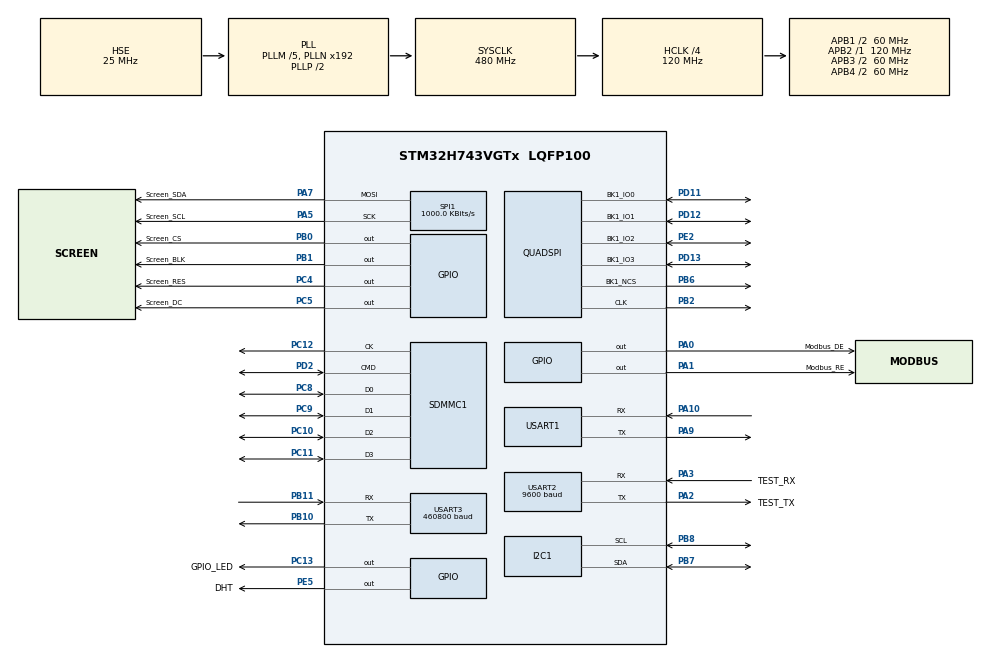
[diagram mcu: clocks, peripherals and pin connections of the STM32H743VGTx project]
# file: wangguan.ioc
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CORTEX_M7.default_mode_Activation=1
FATFS._CODE_PAGE=437
FATFS._USE_LFN=2
FREERTOS.Tasks01=defaultTask,24,2048,StartDefaultTask,Default,NULL,Dynamic,NULL,NULL;FeedWDG,40,256,StartTask02,Default,NULL,Dynamic,NULL,NULL
I2C1.Timing=0x107075B0
IWDG1.Prescaler=IWDG_PRESCALER_32
IWDG1.Reload=2048
Mcu.Family=STM32H7
Mcu.Name=STM32H743VGTx
Mcu.Package=LQFP100
NVIC.PriorityGroup=NVIC_PRIORITYGROUP_4
NVIC.SDMMC1_IRQn=true\:5\:0\:false\:false\:true\:true\:true\:true\:true
NVIC.TIM6_DAC_IRQn=true\:15\:0\:false\:false\:true\:false\:false\:true\:true
NVIC.TIM7_IRQn=true\:5\:0\:false\:false\:true\:true\:true\:true\:true
NVIC.TimeBase=TIM6_DAC_IRQn
NVIC.TimeBaseIP=TIM6
NVIC.USART2_IRQn=true\:5\:0\:false\:false\:true\:true\:true\:true\:true
NVIC.USART3_IRQn=true\:5\:0\:false\:false\:true\:true\:true\:true\:true
PA0.GPIO_Label=Modbus_DE
PA0.Signal=GPIO_Output
PA1.GPIO_Label=Modbus_RE
PA1.Signal=GPIO_Output
PA10.Mode=Asynchronous
PA10.Signal=USART1_RX
PA13\ (JTMS/SWDIO).Mode=Serial_Wire
PA13\ (JTMS/SWDIO).Signal=DEBUG_JTMS-SWDIO
PA14\ (JTCK/SWCLK).Mode=Serial_Wire
PA14\ (JTCK/SWCLK).Signal=DEBUG_JTCK-SWCLK
PA2.GPIO_Label=TEST_TX
PA2.Mode=Asynchronous
PA2.Signal=USART2_TX
PA3.GPIO_Label=TEST_RX
PA3.Mode=Asynchronous
PA3.Signal=USART2_RX
PA5.GPIO_Label=Screen_SCL
PA5.GPIO_Speed=GPIO_SPEED_FREQ_HIGH
PA5.Mode=TX_Only_Simplex_Unidirect_Master
PA5.Signal=SPI1_SCK
PA7.GPIO_Label=Screen_SDA
PA7.GPIO_Speed=GPIO_SPEED_FREQ_HIGH
PA7.Mode=TX_Only_Simplex_Unidirect_Master
PA7.Signal=SPI1_MOSI
PA9.Mode=Asynchronous
PA9.Signal=USART1_TX
PB0.GPIO_Label=Screen_CS
PB0.GPIO_Speed=GPIO_SPEED_FREQ_HIGH
PB0.PinState=GPIO_PIN_SET
PB0.Signal=GPIO_Output
PB1.GPIO_Label=Screen_BLK
PB1.Signal=GPIO_Output
PB10.Mode=Asynchronous
PB10.Signal=USART3_TX
PB11.Mode=Asynchronous
PB11.Signal=USART3_RX
PB2.GPIO_Speed=GPIO_SPEED_FREQ_VERY_HIGH
PB2.Mode=Single Bank 1
PB2.Signal=QUADSPI_CLK
PB6.GPIO_Speed=GPIO_SPEED_FREQ_VERY_HIGH
PB6.Mode=Single Bank 1
PB6.Signal=QUADSPI_BK1_NCS
PB7.Mode=I2C
PB7.Signal=I2C1_SDA
PB8.Mode=I2C
PB8.Signal=I2C1_SCL
PC10.Mode=SD_4_bits_Wide_bus
PC10.Signal=SDMMC1_D2
PC11.Mode=SD_4_bits_Wide_bus
PC11.Signal=SDMMC1_D3
PC12.Mode=SD_4_bits_Wide_bus
PC12.Signal=SDMMC1_CK
PC13.GPIO_Label=GPIO_LED
PC13.Signal=GPIO_Output
PC14-OSC32_IN\ (OSC32_IN).Mode=LSE-External-Oscillator
PC14-OSC32_IN\ (OSC32_IN).Signal=RCC_OSC32_IN
PC15-OSC32_OUT\ (OSC32_OUT).Mode=LSE-External-Oscillator
PC15-OSC32_OUT\ (OSC32_OUT).Signal=RCC_OSC32_OUT
PC4.GPIO_Label=Screen_RES
PC4.Signal=GPIO_Output
PC5.GPIO_Label=Screen_DC
PC5.GPIO_Speed=GPIO_SPEED_FREQ_HIGH
PC5.Signal=GPIO_Output
PC8.Mode=SD_4_bits_Wide_bus
PC8.Signal=SDMMC1_D0
PC9.Mode=SD_4_bits_Wide_bus
PC9.Signal=SDMMC1_D1
PD11.GPIO_Speed=GPIO_SPEED_FREQ_VERY_HIGH
PD11.Mode=Single Bank 1
PD11.Signal=QUADSPI_BK1_IO0
PD12.GPIO_Speed=GPIO_SPEED_FREQ_VERY_HIGH
PD12.Mode=Single Bank 1
PD12.Signal=QUADSPI_BK1_IO1
PD13.GPIO_Speed=GPIO_SPEED_FREQ_VERY_HIGH
PD13.Mode=Single Bank 1
PD13.Signal=QUADSPI_BK1_IO3
PD2.Mode=SD_4_bits_Wide_bus
PD2.Signal=SDMMC1_CMD
PE2.GPIO_Speed=GPIO_SPEED_FREQ_VERY_HIGH
PE2.Mode=Single Bank 1
PE2.Signal=QUADSPI_BK1_IO2
PE5.GPIO_Label=DHT
PE5.GPIO_ModeDefaultOutputPP=GPIO_MODE_OUTPUT_OD
PE5.GPIO_PuPd=GPIO_NOPULL
PE5.PinState=GPIO_PIN_SET
PE5.Signal=GPIO_Output
PH0-OSC_IN\ (PH0).Mode=HSE-External-Oscillator
PH0-OSC_IN\ (PH0).Signal=RCC_OSC_IN
PH1-OSC_OUT\ (PH1).Mode=HSE-External-Oscillator
PH1-OSC_OUT\ (PH1).Signal=RCC_OSC_OUT
ProjectManager.HeapSize=0x200
ProjectManager.StackSize=0x400
ProjectManager.TargetToolchain=MDK-ARM V5.32
QUADSPI.ChipSelectHighTime=QSPI_CS_HIGH_TIME_2_CYCLE
QUADSPI.ClockPrescaler=11
QUADSPI.FifoThreshold=4
QUADSPI.FlashSize=22
QUADSPI.SampleShifting=QSPI_SAMPLE_SHIFTING_NONE
RCC.ADCFreq_Value=50390625
RCC.APB1Freq_Value=60000000
RCC.APB2Freq_Value=120000000
RCC.APB3Freq_Value=60000000
RCC.APB4Freq_Value=60000000
RCC.CortexFreq_Value=480000000
RCC.D1PPRE=RCC_APB3_DIV2
RCC.D2PPRE1=RCC_APB1_DIV2
RCC.D3PPRE=RCC_APB4_DIV2
RCC.DIVM1=5
RCC.DIVN1=192
RCC.DIVQ1=10
RCC.EnbaleCSS=true
RCC.HCLKFreq_Value=120000000
RCC.HPRE=RCC_HCLK_DIV4
RCC.HSE_VALUE=25000000
RCC.PLL2FRACN=0
RCC.PLL3FRACN=0
RCC.PLLFRACN=0
RCC.PLLSourceVirtual=RCC_PLLSOURCE_HSE
RCC.SPI123CLockSelection=RCC_SPI123CLKSOURCE_CLKP
RCC.SYSCLKFreq_VALUE=480000000
RCC.SYSCLKSource=RCC_SYSCLKSOURCE_PLLCLK
RCC.USBFreq_Value=96000000
SDMMC1.ClockDiv=2
SDMMC1.HardwareFlowControl=SDMMC_HARDWARE_FLOW_CONTROL_ENABLE
SPI1.BaudRatePrescaler=SPI_BAUDRATEPRESCALER_64
SPI1.CLKPhase=SPI_PHASE_1EDGE
SPI1.CLKPolarity=SPI_POLARITY_LOW
SPI1.CalculateBaudRate=1000.0 KBits/s
SPI1.DataSize=SPI_DATASIZE_8BIT
SPI1.Direction=SPI_DIRECTION_2LINES_TXONLY
SPI1.MasterKeepIOState=SPI_MASTER_KEEP_IO_STATE_ENABLE
SPI1.Mode=SPI_MODE_MASTER
SPI1.NSSPMode=SPI_NSS_PULSE_DISABLE
SPI1.VirtualType=VM_MASTER
USART1.VirtualMode-Asynchronous=VM_ASYNC
USART2.BaudRate=9600
USART2.VirtualMode-Asynchronous=VM_ASYNC
USART3.BaudRate=460800
USART3.VirtualMode-Asynchronous=VM_ASYNC
VP_CRC_VS_CRC.Mode=CRC_Activate
VP_FATFS_VS_SDIO.Mode=SDIO
VP_FREERTOS_VS_CMSIS_V2.Mode=CMSIS_V2
VP_IWDG1_VS_IWDG.Mode=IWDG_Activate
VP_MEMORYMAP_VS_MEMORYMAP.Mode=CurAppReg
VP_SYS_VS_tim6.Mode=TIM6
VP_TIM7_VS_ClockSourceINT.Mode=Enable_Timer
board=custom

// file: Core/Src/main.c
/* USER CODE BEGIN Header */
/**
  ******************************************************************************
  * @file           : main.c
  * @brief          : Main program body
  ******************************************************************************
  * @attention
  *
  * Copyright (c) 2026 STMicroelectronics.
  * All rights reserved.
  *
  * This software is licensed under terms that can be found in the LICENSE file
  * in the root directory of this software component.
  * If no LICENSE file comes with this software, it is provided AS-IS.
  *
  ******************************************************************************
  */
/* USER CODE END Header */
#include "main.h"
#include "FreeRTOS.h"
#include "cmsis_os2.h"
#include "fatfs.h"

/* USER CODE BEGIN Includes */
#include "lvgl_port.h"
#include "usart1_test.h"
#include "usart3_test.h"
#include "w25q64_qspi.h"
#include "w25q64_test.h"
#include "boot_selftest.h"
#include "modbus_sensor.h"
#include "boot_trial.h"
#include "offline_cache.h"
#include "bh1750.h"
#include "task.h"
/* USER CODE END Includes */

/* USER CODE BEGIN PD */

volatile uint32_t g_lvgl_heartbeat = 0U;
volatile uint32_t g_usart1_heartbeat = 0U;
volatile uint32_t g_usart3_heartbeat = 0U;

volatile bool g_lvgl_started = false;
volatile bool g_usart1_started = false;
volatile bool g_usart3_started = false;

/* USER CODE END PD */

CRC_HandleTypeDef hcrc;

I2C_HandleTypeDef hi2c1;

IWDG_HandleTypeDef hiwdg1;

QSPI_HandleTypeDef hqspi;

SD_HandleTypeDef hsd1;

SPI_HandleTypeDef hspi1;

TIM_HandleTypeDef htim7;

UART_HandleTypeDef huart1;
UART_HandleTypeDef huart2;
UART_HandleTypeDef huart3;

/* Definitions for defaultTask */
osThreadId_t defaultTaskHandle;
const osThreadAttr_t defaultTask_attributes = {
  .name = "defaultTask",
  .stack_size = 2048 * 4,
  .priority = (osPriority_t) osPriorityNormal,
};
/* Definitions for FeedWDG */
osThreadId_t FeedWDGHandle;
const osThreadAttr_t FeedWDG_attributes = {
  .name = "FeedWDG",
  .stack_size = 256 * 4,
  .priority = (osPriority_t) osPriorityHigh,
};
#define STARTUP_GRACE_MS 3000U
#define CACHE_SCAN_LIMIT_MS 30000U
#define CACHE_SCAN_STALL_MS 2000U

void SystemClock_Config(void);
void PeriphCommonClock_Config(void);
static void MPU_Config(void);
static void MX_GPIO_Init(void);
static void MX_USART1_UART_Init(void);
static void MX_SPI1_Init(void);
static void MX_QUADSPI_Init(void);
static void MX_USART2_UART_Init(void);
static void MX_USART3_UART_Init(void);
static void MX_CRC_Init(void);
static void MX_IWDG1_Init(void);
static void MX_SDMMC1_SD_Init(void);
static void MX_TIM7_Init(void);
static void MX_I2C1_Init(void);
void StartDefaultTask(void *argument);
void StartTask02(void *argument);

int main(void)
{

  /* MPU Configuration--------------------------------------------------------*/
  MPU_Config();

  /* MCU Configuration--------------------------------------------------------*/

  /* Reset of all peripherals, Initializes the Flash interface and the Systick. */
  HAL_Init();

  /* Configure the system clock */
  SystemClock_Config();

  /* Configure the peripherals common clocks */
  PeriphCommonClock_Config();

  /* Initialize all configured peripherals */
  MX_GPIO_Init();
  MX_USART1_UART_Init();
  MX_SPI1_Init();
  MX_QUADSPI_Init();
  MX_USART2_UART_Init();
  MX_USART3_UART_Init();
  MX_CRC_Init();
  MX_SDMMC1_SD_Init();
  MX_FATFS_Init();
  MX_TIM7_Init();
  MX_I2C1_Init();
  /* USER CODE BEGIN 2 */

	// W25Q64的Spi Flash测试

  if (W25Q64_Init(&hqspi) != HAL_OK)
  {
     Error_Handler();
  }

  if (W25Q64_TestReadID(&huart1) != HAL_OK)
  {
    Error_Handler();
  }
  /* 外设和Flash自检完成后再启动看门狗，避免初始化阶段尚未有任务喂狗。 */
  MX_IWDG1_Init();
  /* USER CODE END 2 */

  /* Init scheduler */
  osKernelInitialize();

  /* Create the thread(s) */
  /* creation of defaultTask */
  defaultTaskHandle = osThreadNew(StartDefaultTask, NULL, &defaultTask_attributes);

  /* creation of FeedWDG */
  FeedWDGHandle = osThreadNew(StartTask02, NULL, &FeedWDG_attributes);

  /* USER CODE BEGIN RTOS_THREADS */
  /* 创建RS485温湿度采集任务，每秒轮询站号1和2。 */
  if (!ModbusSensor_Start(&huart2))
  {
    Error_Handler();
  }
  if (Usart1Test_Start(&huart1) != HAL_OK)
  {
    Error_Handler();
  }
  if (Usart3Test_Start(&huart3) != HAL_OK)
  {
    Error_Handler();
  }
  /* 启动独立光照采集任务，主循环只负责调度。 */
  if (BH1750_Start(&hi2c1) != HAL_OK)
  {
    Error_Handler();
  }
  BootSelfTest_Start();
  /* USER CODE END RTOS_THREADS */

  /* Start scheduler */
  osKernelStart();

  /* We should never get here as control is now taken by the scheduler */

  /* Infinite loop */
  while (1)
  {

  }
}

void SystemClock_Config(void)
{
  RCC_OscInitTypeDef RCC_OscInitStruct = {0};
  RCC_ClkInitTypeDef RCC_ClkInitStruct = {0};

  /** Supply configuration update enable
  */
  HAL_PWREx_ConfigSupply(PWR_LDO_SUPPLY);

  /** Configure the main internal regulator output voltage
  */
  __HAL_PWR_VOLTAGESCALING_CONFIG(PWR_REGULATOR_VOLTAGE_SCALE0);

  while(!__HAL_PWR_GET_FLAG(PWR_FLAG_VOSRDY)) {}

  /** Initializes the RCC Oscillators according to the specified parameters
  * in the RCC_OscInitTypeDef structure.
  */
  RCC_OscInitStruct.OscillatorType = RCC_OSCILLATORTYPE_HSI|RCC_OSCILLATORTYPE_LSI
                              |RCC_OSCILLATORTYPE_HSE;
  RCC_OscInitStruct.HSEState = RCC_HSE_ON;
  RCC_OscInitStruct.HSIState = RCC_HSI_DIV1;
  RCC_OscInitStruct.HSICalibrationValue = RCC_HSICALIBRATION_DEFAULT;
  RCC_OscInitStruct.LSIState = RCC_LSI_ON;
  RCC_OscInitStruct.PLL.PLLState = RCC_PLL_ON;
  RCC_OscInitStruct.PLL.PLLSource = RCC_PLLSOURCE_HSE;
  RCC_OscInitStruct.PLL.PLLM = 5;
  RCC_OscInitStruct.PLL.PLLN = 192;
  RCC_OscInitStruct.PLL.PLLP = 2;
  RCC_OscInitStruct.PLL.PLLQ = 10;
  RCC_OscInitStruct.PLL.PLLR = 2;
  RCC_OscInitStruct.PLL.PLLRGE = RCC_PLL1VCIRANGE_2;
  RCC_OscInitStruct.PLL.PLLVCOSEL = RCC_PLL1VCOWIDE;
  RCC_OscInitStruct.PLL.PLLFRACN = 0;
  if (HAL_RCC_OscConfig(&RCC_OscInitStruct) != HAL_OK)
  {
    Error_Handler();
  }

  /** Initializes the CPU, AHB and APB buses clocks
  */
  RCC_ClkInitStruct.ClockType = RCC_CLOCKTYPE_HCLK|RCC_CLOCKTYPE_SYSCLK
                              |RCC_CLOCKTYPE_PCLK1|RCC_CLOCKTYPE_PCLK2
                              |RCC_CLOCKTYPE_D3PCLK1|RCC_CLOCKTYPE_D1PCLK1;
  RCC_ClkInitStruct.SYSCLKSource = RCC_SYSCLKSOURCE_PLLCLK;
  RCC_ClkInitStruct.SYSCLKDivider = RCC_SYSCLK_DIV1;
  RCC_ClkInitStruct.AHBCLKDivider = RCC_HCLK_DIV4;
  RCC_ClkInitStruct.APB3CLKDivider = RCC_APB3_DIV2;
  RCC_ClkInitStruct.APB1CLKDivider = RCC_APB1_DIV2;
  RCC_ClkInitStruct.APB2CLKDivider = RCC_APB2_DIV1;
  RCC_ClkInitStruct.APB4CLKDivider = RCC_APB4_DIV2;

  if (HAL_RCC_ClockConfig(&RCC_ClkInitStruct, FLASH_LATENCY_1) != HAL_OK)
  {
    Error_Handler();
  }

  /** Enables the Clock Security System
  */
  HAL_RCC_EnableCSS();
}

void PeriphCommonClock_Config(void)
{
  RCC_PeriphCLKInitTypeDef PeriphClkInitStruct = {0};

  /** Initializes the peripherals clock
  */
  PeriphClkInitStruct.PeriphClockSelection = RCC_PERIPHCLK_CKPER;
  PeriphClkInitStruct.CkperClockSelection = RCC_CLKPSOURCE_HSI;
  if (HAL_RCCEx_PeriphCLKConfig(&PeriphClkInitStruct) != HAL_OK)
  {
    Error_Handler();
  }
}

static void MX_CRC_Init(void)
{

  hcrc.Instance = CRC;
  hcrc.Init.DefaultPolynomialUse = DEFAULT_POLYNOMIAL_ENABLE;
  hcrc.Init.DefaultInitValueUse = DEFAULT_INIT_VALUE_ENABLE;
  hcrc.Init.InputDataInversionMode = CRC_INPUTDATA_INVERSION_NONE;
  hcrc.Init.OutputDataInversionMode = CRC_OUTPUTDATA_INVERSION_DISABLE;
  hcrc.InputDataFormat = CRC_INPUTDATA_FORMAT_BYTES;
  if (HAL_CRC_Init(&hcrc) != HAL_OK)
  {
    Error_Handler();
  }

}

static void MX_I2C1_Init(void)
{

  hi2c1.Instance = I2C1;
  hi2c1.Init.Timing = 0x107075B0;
  hi2c1.Init.OwnAddress1 = 0;
  hi2c1.Init.AddressingMode = I2C_ADDRESSINGMODE_7BIT;
  hi2c1.Init.DualAddressMode = I2C_DUALADDRESS_DISABLE;
  hi2c1.Init.OwnAddress2 = 0;
  hi2c1.Init.OwnAddress2Masks = I2C_OA2_NOMASK;
  hi2c1.Init.GeneralCallMode = I2C_GENERALCALL_DISABLE;
  hi2c1.Init.NoStretchMode = I2C_NOSTRETCH_DISABLE;
  if (HAL_I2C_Init(&hi2c1) != HAL_OK)
  {
    Error_Handler();
  }

  /** Configure Analogue filter
  */
  if (HAL_I2CEx_ConfigAnalogFilter(&hi2c1, I2C_ANALOGFILTER_ENABLE) != HAL_OK)
  {
    Error_Handler();
  }

  /** Configure Digital filter
  */
  if (HAL_I2CEx_ConfigDigitalFilter(&hi2c1, 0) != HAL_OK)
  {
    Error_Handler();
  }

}

static void MX_IWDG1_Init(void)
{

  /* USER CODE BEGIN IWDG1_Init 1 */

	// 时间计算 : Tout = (预分频系数 * (重装载值+1)) / LSI
	// 大约是2.5s

  /* USER CODE END IWDG1_Init 1 */
  hiwdg1.Instance = IWDG1;
  hiwdg1.Init.Prescaler = IWDG_PRESCALER_32;
  hiwdg1.Init.Window = 4095;
  hiwdg1.Init.Reload = 2048;
  if (HAL_IWDG_Init(&hiwdg1) != HAL_OK)
  {
    Error_Handler();
  }

}

static void MX_QUADSPI_Init(void)
{

  /* QUADSPI parameter configuration*/
  hqspi.Instance = QUADSPI;
  hqspi.Init.ClockPrescaler = 11;
  hqspi.Init.FifoThreshold = 4;
  hqspi.Init.SampleShifting = QSPI_SAMPLE_SHIFTING_NONE;
  hqspi.Init.FlashSize = 22;
  hqspi.Init.ChipSelectHighTime = QSPI_CS_HIGH_TIME_2_CYCLE;
  hqspi.Init.ClockMode = QSPI_CLOCK_MODE_0;
  hqspi.Init.FlashID = QSPI_FLASH_ID_1;
  hqspi.Init.DualFlash = QSPI_DUALFLASH_DISABLE;
  if (HAL_QSPI_Init(&hqspi) != HAL_OK)
  {
    Error_Handler();
  }

}

static void MX_SDMMC1_SD_Init(void)
{

  hsd1.Instance = SDMMC1;
  hsd1.Init.ClockEdge = SDMMC_CLOCK_EDGE_RISING;
  hsd1.Init.ClockPowerSave = SDMMC_CLOCK_POWER_SAVE_DISABLE;
  hsd1.Init.BusWide = SDMMC_BUS_WIDE_4B;
  hsd1.Init.HardwareFlowControl = SDMMC_HARDWARE_FLOW_CONTROL_ENABLE;
  hsd1.Init.ClockDiv = 2;
  if (HAL_SD_Init(&hsd1) != HAL_OK)
  {
    Error_Handler();
  }

}

static void MX_SPI1_Init(void)
{

  /* SPI1 parameter configuration*/
  hspi1.Instance = SPI1;
  hspi1.Init.Mode = SPI_MODE_MASTER;
  hspi1.Init.Direction = SPI_DIRECTION_2LINES_TXONLY;
  hspi1.Init.DataSize = SPI_DATASIZE_8BIT;
  hspi1.Init.CLKPolarity = SPI_POLARITY_LOW;
  hspi1.Init.CLKPhase = SPI_PHASE_1EDGE;
  hspi1.Init.NSS = SPI_NSS_SOFT;
  hspi1.Init.BaudRatePrescaler = SPI_BAUDRATEPRESCALER_64;
  hspi1.Init.FirstBit = SPI_FIRSTBIT_MSB;
  hspi1.Init.TIMode = SPI_TIMODE_DISABLE;
  hspi1.Init.CRCCalculation = SPI_CRCCALCULATION_DISABLE;
  hspi1.Init.CRCPolynomial = 0x0;
  hspi1.Init.NSSPMode = SPI_NSS_PULSE_DISABLE;
  hspi1.Init.NSSPolarity = SPI_NSS_POLARITY_LOW;
  hspi1.Init.FifoThreshold = SPI_FIFO_THRESHOLD_01DATA;
  hspi1.Init.TxCRCInitializationPattern = SPI_CRC_INITIALIZATION_ALL_ZERO_PATTERN;
  hspi1.Init.RxCRCInitializationPattern = SPI_CRC_INITIALIZATION_ALL_ZERO_PATTERN;
  hspi1.Init.MasterSSIdleness = SPI_MASTER_SS_IDLENESS_00CYCLE;
  hspi1.Init.MasterInterDataIdleness = SPI_MASTER_INTERDATA_IDLENESS_00CYCLE;
  hspi1.Init.MasterReceiverAutoSusp = SPI_MASTER_RX_AUTOSUSP_DISABLE;
  hspi1.Init.MasterKeepIOState = SPI_MASTER_KEEP_IO_STATE_ENABLE;
  hspi1.Init.IOSwap = SPI_IO_SWAP_DISABLE;
  if (HAL_SPI_Init(&hspi1) != HAL_OK)
  {
    Error_Handler();
  }

}

static void MX_TIM7_Init(void)
{

  TIM_MasterConfigTypeDef sMasterConfig = {0};

  htim7.Instance = TIM7;
  htim7.Init.Prescaler = 0;
  htim7.Init.CounterMode = TIM_COUNTERMODE_UP;
  htim7.Init.Period = 65535;
  htim7.Init.AutoReloadPreload = TIM_AUTORELOAD_PRELOAD_DISABLE;
  if (HAL_TIM_Base_Init(&htim7) != HAL_OK)
  {
    Error_Handler();
  }
  sMasterConfig.MasterOutputTrigger = TIM_TRGO_RESET;
  sMasterConfig.MasterSlaveMode = TIM_MASTERSLAVEMODE_DISABLE;
  if (HAL_TIMEx_MasterConfigSynchronization(&htim7, &sMasterConfig) != HAL_OK)
  {
    Error_Handler();
  }

}

static void MX_USART1_UART_Init(void)
{

  huart1.Instance = USART1;
  huart1.Init.BaudRate = 115200;
  huart1.Init.WordLength = UART_WORDLENGTH_8B;
  huart1.Init.StopBits = UART_STOPBITS_1;
  huart1.Init.Parity = UART_PARITY_NONE;
  huart1.Init.Mode = UART_MODE_TX_RX;
  huart1.Init.HwFlowCtl = UART_HWCONTROL_NONE;
  huart1.Init.OverSampling = UART_OVERSAMPLING_16;
  huart1.Init.OneBitSampling = UART_ONE_BIT_SAMPLE_DISABLE;
  huart1.Init.ClockPrescaler = UART_PRESCALER_DIV1;
  huart1.AdvancedInit.AdvFeatureInit = UART_ADVFEATURE_NO_INIT;
  if (HAL_UART_Init(&huart1) != HAL_OK)
  {
    Error_Handler();
  }
  if (HAL_UARTEx_SetTxFifoThreshold(&huart1, UART_TXFIFO_THRESHOLD_1_8) != HAL_OK)
  {
    Error_Handler();
  }
  if (HAL_UARTEx_SetRxFifoThreshold(&huart1, UART_RXFIFO_THRESHOLD_1_8) != HAL_OK)
  {
    Error_Handler();
  }
  if (HAL_UARTEx_DisableFifoMode(&huart1) != HAL_OK)
  {
    Error_Handler();
  }

}

static void MX_USART2_UART_Init(void)
{

  huart2.Instance = USART2;
  huart2.Init.BaudRate = 9600;
  huart2.Init.WordLength = UART_WORDLENGTH_8B;
  huart2.Init.StopBits = UART_STOPBITS_1;
  huart2.Init.Parity = UART_PARITY_NONE;
  huart2.Init.Mode = UART_MODE_TX_RX;
  huart2.Init.HwFlowCtl = UART_HWCONTROL_NONE;
  huart2.Init.OverSampling = UART_OVERSAMPLING_16;
  huart2.Init.OneBitSampling = UART_ONE_BIT_SAMPLE_DISABLE;
  huart2.Init.ClockPrescaler = UART_PRESCALER_DIV1;
  huart2.AdvancedInit.AdvFeatureInit = UART_ADVFEATURE_NO_INIT;
  if (HAL_UART_Init(&huart2) != HAL_OK)
  {
    Error_Handler();
  }
  if (HAL_UARTEx_SetTxFifoThreshold(&huart2, UART_TXFIFO_THRESHOLD_1_8) != HAL_OK)
  {
    Error_Handler();
  }
  if (HAL_UARTEx_SetRxFifoThreshold(&huart2, UART_RXFIFO_THRESHOLD_1_8) != HAL_OK)
  {
    Error_Handler();
  }
  if (HAL_UARTEx_DisableFifoMode(&huart2) != HAL_OK)
  {
    Error_Handler();
  }

}

static void MX_USART3_UART_Init(void)
{

  huart3.Instance = USART3;
  huart3.Init.BaudRate = 460800;
  huart3.Init.WordLength = UART_WORDLENGTH_8B;
  huart3.Init.StopBits = UART_STOPBITS_1;
  huart3.Init.Parity = UART_PARITY_NONE;
  huart3.Init.Mode = UART_MODE_TX_RX;
  huart3.Init.HwFlowCtl = UART_HWCONTROL_NONE;
  huart3.Init.OverSampling = UART_OVERSAMPLING_16;
  huart3.Init.OneBitSampling = UART_ONE_BIT_SAMPLE_DISABLE;
  huart3.Init.ClockPrescaler = UART_PRESCALER_DIV1;
  huart3.AdvancedInit.AdvFeatureInit = UART_ADVFEATURE_NO_INIT;
  if (HAL_UART_Init(&huart3) != HAL_OK)
  {
    Error_Handler();
  }
  if (HAL_UARTEx_SetTxFifoThreshold(&huart3, UART_TXFIFO_THRESHOLD_1_8) != HAL_OK)
  {
    Error_Handler();
  }
  if (HAL_UARTEx_SetRxFifoThreshold(&huart3, UART_RXFIFO_THRESHOLD_1_8) != HAL_OK)
  {
    Error_Handler();
  }
  if (HAL_UARTEx_DisableFifoMode(&huart3) != HAL_OK)
  {
    Error_Handler();
  }

}

static void MX_GPIO_Init(void)
{
  GPIO_InitTypeDef GPIO_InitStruct = {0};

  /* GPIO Ports Clock Enable */
  __HAL_RCC_GPIOE_CLK_ENABLE();
  __HAL_RCC_GPIOC_CLK_ENABLE();
  __HAL_RCC_GPIOH_CLK_ENABLE();
  __HAL_RCC_GPIOA_CLK_ENABLE();
  __HAL_RCC_GPIOB_CLK_ENABLE();
  __HAL_RCC_GPIOD_CLK_ENABLE();

  /*Configure GPIO pin Output Level */
  HAL_GPIO_WritePin(DHT_GPIO_Port, DHT_Pin, GPIO_PIN_SET);

  /*Configure GPIO pin Output Level */
  HAL_GPIO_WritePin(GPIOC, GPIO_LED_Pin|Screen_RES_Pin|Screen_DC_Pin, GPIO_PIN_RESET);

  /*Configure GPIO pin Output Level */
  HAL_GPIO_WritePin(GPIOA, Modbus_DE_Pin|Modbus_RE_Pin, GPIO_PIN_RESET);

  /*Configure GPIO pin Output Level */
  HAL_GPIO_WritePin(Screen_CS_GPIO_Port, Screen_CS_Pin, GPIO_PIN_SET);

  /*Configure GPIO pin Output Level */
  HAL_GPIO_WritePin(Screen_BLK_GPIO_Port, Screen_BLK_Pin, GPIO_PIN_RESET);

  /*Configure GPIO pin : DHT_Pin */
  GPIO_InitStruct.Pin = DHT_Pin;
  GPIO_InitStruct.Mode = GPIO_MODE_OUTPUT_OD;
  GPIO_InitStruct.Pull = GPIO_NOPULL;
  GPIO_InitStruct.Speed = GPIO_SPEED_FREQ_LOW;
  HAL_GPIO_Init(DHT_GPIO_Port, &GPIO_InitStruct);

  /*Configure GPIO pins : GPIO_LED_Pin Screen_RES_Pin */
  GPIO_InitStruct.Pin = GPIO_LED_Pin|Screen_RES_Pin;
  GPIO_InitStruct.Mode = GPIO_MODE_OUTPUT_PP;
  GPIO_InitStruct.Pull = GPIO_NOPULL;
  GPIO_InitStruct.Speed = GPIO_SPEED_FREQ_LOW;
  HAL_GPIO_Init(GPIOC, &GPIO_InitStruct);

  /* 配置MAX485的DE和低电平有效的RE控制引脚。 */
  GPIO_InitStruct.Pin = Modbus_DE_Pin|Modbus_RE_Pin;
  GPIO_InitStruct.Mode = GPIO_MODE_OUTPUT_PP;
  GPIO_InitStruct.Pull = GPIO_NOPULL;
  GPIO_InitStruct.Speed = GPIO_SPEED_FREQ_LOW;
  HAL_GPIO_Init(GPIOA, &GPIO_InitStruct);

  /*Configure GPIO pin : Screen_DC_Pin */
  GPIO_InitStruct.Pin = Screen_DC_Pin;
  GPIO_InitStruct.Mode = GPIO_MODE_OUTPUT_PP;
  GPIO_InitStruct.Pull = GPIO_NOPULL;
  GPIO_InitStruct.Speed = GPIO_SPEED_FREQ_HIGH;
  HAL_GPIO_Init(Screen_DC_GPIO_Port, &GPIO_InitStruct);

  /*Configure GPIO pin : Screen_CS_Pin */
  GPIO_InitStruct.Pin = Screen_CS_Pin;
  GPIO_InitStruct.Mode = GPIO_MODE_OUTPUT_PP;
  GPIO_InitStruct.Pull = GPIO_NOPULL;
  GPIO_InitStruct.Speed = GPIO_SPEED_FREQ_HIGH;
  HAL_GPIO_Init(Screen_CS_GPIO_Port, &GPIO_InitStruct);

  /*Configure GPIO pin : Screen_BLK_Pin */
  GPIO_InitStruct.Pin = Screen_BLK_Pin;
  GPIO_InitStruct.Mode = GPIO_MODE_OUTPUT_PP;
  GPIO_InitStruct.Pull = GPIO_NOPULL;
  GPIO_InitStruct.Speed = GPIO_SPEED_FREQ_LOW;
  HAL_GPIO_Init(Screen_BLK_GPIO_Port, &GPIO_InitStruct);

  /*AnalogSwitch Config */
  HAL_SYSCFG_AnalogSwitchConfig(SYSCFG_SWITCH_PA0, SYSCFG_SWITCH_PA0_CLOSE);

}

/* USER CODE BEGIN Header_StartDefaultTask */
/**
  * @brief 启动并持续运行LVGL图形任务。
  * @param argument 任务参数，本任务中未使用。
  * @retval 无。
  */
/* USER CODE END Header_StartDefaultTask */
void StartDefaultTask(void *argument)
{
  /* USER CODE BEGIN 5 */
  (void)argument;

  LVGL_Port_Task(&hspi1);
  /* USER CODE END 5 */
}

/* USER CODE BEGIN Header_StartTask02 */
/**
  * @brief 启动、缓存扫描及关键任务健康期间刷新独立看门狗。
  * @param argument 未使用的任务参数。
  * @retval 无，任务持续运行。
  */
/* USER CODE END Header_StartTask02 */
void StartTask02(void *argument)
{
  /* USER CODE BEGIN StartTask02 */
	// 获取开始时间
  uint32_t start_tick = HAL_GetTick();
  uint32_t last_scan_sectors = 0U;
  uint32_t last_scan_tick = start_tick;
  for (;;)
  {
    uint32_t now = HAL_GetTick();

    uint32_t scan_sectors = g_offline_cache_scan_sectors;
    if (scan_sectors != 0U && scan_sectors != UINT32_MAX &&
        scan_sectors != last_scan_sectors)
    {
      last_scan_sectors = scan_sectors;
      last_scan_tick = now;
    }

		// 判断启动条件：三个任务启动 且三个任务刷新心跳的间隔小于1.5s
		// 认定为任务正常运行喂狗

    bool healthy = g_lvgl_started && g_usart1_started && g_usart3_started &&
                   ((now - g_lvgl_heartbeat) < 1500U) &&
                   ((now - g_usart1_heartbeat) < 1500U) &&
                   ((now - g_usart3_heartbeat) < 1500U);

    BootTrial_Poll(healthy);

    /* 缓存扫描持续推进且其他任务正常时，限时喂狗但不确认试运行固件。 */
    bool scanning = scan_sectors != 0U && scan_sectors != UINT32_MAX &&
                    (now - start_tick) < CACHE_SCAN_LIMIT_MS &&
                    (now - last_scan_tick) < CACHE_SCAN_STALL_MS &&
                    g_lvgl_started && g_usart1_started &&
                    (now - g_lvgl_heartbeat) < 1500U &&
                    (now - g_usart1_heartbeat) < 1500U;
    if (((now - start_tick) < STARTUP_GRACE_MS) || healthy || scanning)
    {
      (void)HAL_IWDG_Refresh(&hiwdg1);
    }
    vTaskDelay(pdMS_TO_TICKS(500U));
  }
  /* USER CODE END StartTask02 */
}

 /* MPU Configuration */

void MPU_Config(void)
{
  MPU_Region_InitTypeDef MPU_InitStruct = {0};

  /* Disables the MPU */
  HAL_MPU_Disable();

  /** Initializes and configures the Region and the memory to be protected
  */
  MPU_InitStruct.Enable = MPU_REGION_ENABLE;
  MPU_InitStruct.Number = MPU_REGION_NUMBER0;
  MPU_InitStruct.BaseAddress = 0x0;
  MPU_InitStruct.Size = MPU_REGION_SIZE_4GB;
  MPU_InitStruct.SubRegionDisable = 0x87;
  MPU_InitStruct.TypeExtField = MPU_TEX_LEVEL0;
  MPU_InitStruct.AccessPermission = MPU_REGION_NO_ACCESS;
  MPU_InitStruct.DisableExec = MPU_INSTRUCTION_ACCESS_DISABLE;
  MPU_InitStruct.IsShareable = MPU_ACCESS_SHAREABLE;
  MPU_InitStruct.IsCacheable = MPU_ACCESS_NOT_CACHEABLE;
  MPU_InitStruct.IsBufferable = MPU_ACCESS_NOT_BUFFERABLE;

  HAL_MPU_ConfigRegion(&MPU_InitStruct);
  /* Enables the MPU */
  HAL_MPU_Enable(MPU_PRIVILEGED_DEFAULT);

}

void HAL_TIM_PeriodElapsedCallback(TIM_HandleTypeDef *htim)
{
  if (htim->Instance == TIM6)
  {
    HAL_IncTick();
  }
}

void Error_Handler(void)
{
  __disable_irq();
  while (1)
  {
  }
}

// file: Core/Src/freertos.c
/* USER CODE BEGIN Header */
/**
  ******************************************************************************
  * File Name          : freertos.c
  * Description        : Code for freertos applications
  ******************************************************************************
  * @attention
  *
  * Copyright (c) 2026 STMicroelectronics.
  * All rights reserved.
  *
  * This software is licensed under terms that can be found in the LICENSE file
  * in the root directory of this software component.
  * If no LICENSE file comes with this software, it is provided AS-IS.
  *
  ******************************************************************************
  */
/* USER CODE END Header */

#include "FreeRTOS.h"
#include "task.h"
#include "main.h"

/* USER CODE BEGIN Application */

/**
  * @brief 在任务栈溢出时关闭中断并停机以便调试定位。
  * @param task_handle 发生栈溢出的任务句柄。
  * @param task_name 发生栈溢出的任务名称。
  * @retval 无。
  */
void vApplicationStackOverflowHook(TaskHandle_t task_handle, char *task_name)
{
  (void)task_handle;
  (void)task_name;
  taskDISABLE_INTERRUPTS();
  for (;;)
  {
  }
}

/**
  * @brief 在FreeRTOS动态内存分配失败时关闭中断并停机。
  * @retval 无。
  */
void vApplicationMallocFailedHook(void)
{
  taskDISABLE_INTERRUPTS();
  for (;;)
  {
  }
}

/**
  * @brief 为FreeRTOS空闲任务提供静态控制块和任务栈。
  * @param task_tcb 输出空闲任务控制块地址。
  * @param task_stack 输出空闲任务栈地址。
  * @param stack_size 输出任务栈的字数。
  * @retval 无。
  */
void vApplicationGetIdleTaskMemory(StaticTask_t **task_tcb,
                                   StackType_t **task_stack,
                                   uint32_t *stack_size)
{
  static StaticTask_t idle_tcb;
  static StackType_t idle_stack[configMINIMAL_STACK_SIZE];
  *task_tcb = &idle_tcb;
  *task_stack = idle_stack;
  *stack_size = configMINIMAL_STACK_SIZE;
}

/**
  * @brief 为FreeRTOS定时器任务提供静态控制块和任务栈。
  * @param task_tcb 输出定时器任务控制块地址。
  * @param task_stack 输出定时器任务栈地址。
  * @param stack_size 输出任务栈的字数。
  * @retval 无。
  */
void vApplicationGetTimerTaskMemory(StaticTask_t **task_tcb,
                                    StackType_t **task_stack,
                                    uint32_t *stack_size)
{
  static StaticTask_t timer_tcb;
  static StackType_t timer_stack[configTIMER_TASK_STACK_DEPTH];
  *task_tcb = &timer_tcb;
  *task_stack = timer_stack;
  *stack_size = configTIMER_TASK_STACK_DEPTH;
}

/* USER CODE END Application */
